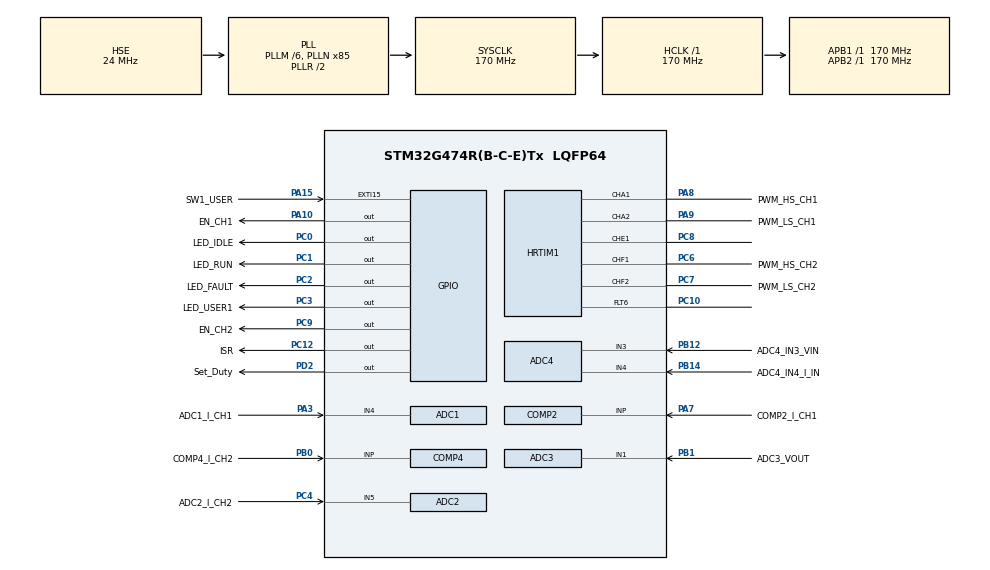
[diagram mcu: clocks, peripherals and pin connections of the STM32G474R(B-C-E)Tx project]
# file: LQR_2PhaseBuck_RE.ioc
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ADC1.ClockPrescaler=ADC_CLOCK_SYNC_PCLK_DIV4
ADC1.EnableInjectedConversion=ENABLE
ADC1.EnableRegularConversion=DISABLE
ADC1.ExternalTrigInjecConv=ADC_EXTERNALTRIGINJEC_HRTIM_TRG2
ADC1.InjNumberOfConversion=1
ADC1.InjectedChannel-7\#ChannelInjectedConversion=ADC_CHANNEL_4
ADC1.InjectedOffset-7\#ChannelInjectedConversion=0
ADC1.InjectedOffsetNumber-7\#ChannelInjectedConversion=ADC_OFFSET_NONE
ADC1.InjectedRank-7\#ChannelInjectedConversion=1
ADC1.InjectedSamplingTime-7\#ChannelInjectedConversion=ADC_SAMPLETIME_6CYCLES_5
ADC1.Mode=ADC_DUALMODE_INJECSIMULT
ADC1.Resolution=ADC_RESOLUTION_12B
ADC1.master=1
ADC2.EnableInjectedConversion=ENABLE
ADC2.EnableRegularConversion=DISABLE
ADC2.InjNumberOfConversion=1
ADC2.InjectedChannel-10\#ChannelInjectedConversion=ADC_CHANNEL_5
ADC2.InjectedOffsetNumber-10\#ChannelInjectedConversion=ADC_OFFSET_NONE
ADC2.InjectedRank-10\#ChannelInjectedConversion=1
ADC2.InjectedSamplingTime-10\#ChannelInjectedConversion=ADC_SAMPLETIME_6CYCLES_5
ADC2.Mode=ADC_DUALMODE_INJECSIMULT
ADC2.Resolution=ADC_RESOLUTION_12B
ADC3.ClockPrescaler=ADC_CLOCK_SYNC_PCLK_DIV4
ADC3.EnableInjectedConversion=ENABLE
ADC3.EnableRegularConversion=DISABLE
ADC3.ExternalTrigInjecConv=ADC_EXTERNALTRIGINJEC_HRTIM_TRG2
ADC3.InjNumberOfConversion=1
ADC3.InjectedChannel-1\#ChannelInjectedConversion=ADC_CHANNEL_1
ADC3.InjectedOffsetNumber-1\#ChannelInjectedConversion=ADC_OFFSET_NONE
ADC3.InjectedRank-1\#ChannelInjectedConversion=1
ADC3.InjectedSamplingTime-1\#ChannelInjectedConversion=ADC_SAMPLETIME_12CYCLES_5
ADC3.master=1
ADC4.Channel-2\#ChannelRegularConversion=ADC_CHANNEL_3
ADC4.Channel-3\#ChannelRegularConversion=ADC_CHANNEL_4
ADC4.ContinuousConvMode=ENABLE
ADC4.DMAContinuousRequests=ENABLE
ADC4.EOCSelection=ADC_EOC_SINGLE_CONV
ADC4.NbrOfConversion=2
ADC4.NbrOfConversionFlag=1
ADC4.OffsetNumber-2\#ChannelRegularConversion=ADC_OFFSET_NONE
ADC4.OffsetNumber-3\#ChannelRegularConversion=ADC_OFFSET_NONE
ADC4.Overrun=ADC_OVR_DATA_OVERWRITTEN
ADC4.OversamplingMode=DISABLE
ADC4.Rank-2\#ChannelRegularConversion=1
ADC4.Rank-3\#ChannelRegularConversion=2
ADC4.SamplingTime-2\#ChannelRegularConversion=ADC_SAMPLETIME_92CYCLES_5
ADC4.SamplingTime-3\#ChannelRegularConversion=ADC_SAMPLETIME_92CYCLES_5
DAC3.DAC_Channel-DAC_OUT2_Int=DAC_CHANNEL_2
Dma.ADC4.0.Direction=DMA_PERIPH_TO_MEMORY
Dma.ADC4.0.EventEnable=DISABLE
Dma.ADC4.0.Instance=DMA1_Channel1
Dma.ADC4.0.MemDataAlignment=DMA_MDATAALIGN_HALFWORD
Dma.ADC4.0.MemInc=DMA_MINC_ENABLE
Dma.ADC4.0.Mode=DMA_CIRCULAR
Dma.ADC4.0.PeriphDataAlignment=DMA_PDATAALIGN_HALFWORD
Dma.ADC4.0.PeriphInc=DMA_PINC_DISABLE
Dma.ADC4.0.Polarity=HAL_DMAMUX_REQ_GEN_RISING
Dma.ADC4.0.Priority=DMA_PRIORITY_LOW
Dma.ADC4.0.RequestNumber=1
Dma.ADC4.0.SignalID=NONE
Dma.ADC4.0.SyncEnable=DISABLE
Dma.ADC4.0.SyncPolarity=HAL_DMAMUX_SYNC_NO_EVENT
Dma.ADC4.0.SyncRequestNumber=1
Dma.ADC4.0.SyncSignalID=NONE
Dma.Request0=ADC4
HRTIM1.ADCTrigger2_Source1=HRTIM_ADCTRIGGEREVENT24_MASTER_PERIOD
HRTIM1.ADCTrigger_Id2=HRTIM_ADCTRIGGER_2
HRTIM1.ADCTrigger_Id3=__NULL
HRTIM1.ADCTrigger_Id4=__NULL
HRTIM1.ADCTrigger_Id5=__NULL
HRTIM1.BlankingSourceFaultLine1=__NULL
HRTIM1.BlankingSourceFaultLine2=__NULL
HRTIM1.BlankingSourceFaultLine6=__NULL
HRTIM1.CompareUnit1-MasterTimer=HRTIM_COMPAREUNIT_1
HRTIM1.CompareUnit1-Output_TA1TA2=HRTIM_COMPAREUNIT_1
HRTIM1.CompareUnit1-Output_TE1=HRTIM_COMPAREUNIT_1
HRTIM1.CompareUnit1-Output_TF1TF2=HRTIM_COMPAREUNIT_1
HRTIM1.CompareUnit3-Output_TA1TA2=__NULL
HRTIM1.CompareValue1-MasterTimer=13600
HRTIM1.CompareValue1-Output_TA1TA2=800
HRTIM1.CompareValue1-Output_TE1=800
HRTIM1.CompareValue1-Output_TF1TF2=800
HRTIM1.DeadTimeInsertion-Output_TA1TA2=HRTIM_TIMDEADTIMEINSERTION_ENABLED
HRTIM1.DeadTimeInsertion-Output_TF1TF2=HRTIM_TIMDEADTIMEINSERTION_ENABLED
HRTIM1.Event_EEV1=__NULL
HRTIM1.Event_EEV10=__NULL
HRTIM1.Event_EEV2=__NULL
HRTIM1.Event_EEV4=__NULL
HRTIM1.Event_EEV5=__NULL
HRTIM1.Event_EEV6=__NULL
HRTIM1.FallingValue-Output_TA1TA2=10
HRTIM1.FallingValue-Output_TF1TF2=10
HRTIM1.FaultEnable_Source1-Output_TA1TA2=HRTIM_TIMFAULTENABLE_FAULT6
HRTIM1.FaultEnable_Source1-Output_TF1TF2=HRTIM_TIMFAULTENABLE_FAULT6
HRTIM1.FaultEnable_Source2-Output_TA1TA2=HRTIM_TIMFAULTENABLE_FAULT1
HRTIM1.FaultEnable_Source2-Output_TF1TF2=HRTIM_TIMFAULTENABLE_FAULT1
HRTIM1.FaultEnable_Source3-Output_TA1TA2=HRTIM_TIMFAULTENABLE_FAULT2
HRTIM1.FaultEnable_Source3-Output_TF1TF2=HRTIM_TIMFAULTENABLE_FAULT2
HRTIM1.FaultLevel1-Output_TA1TA2=HRTIM_OUTPUTFAULTLEVEL_INACTIVE
HRTIM1.FaultLevel1-Output_TF1TF2=HRTIM_OUTPUTFAULTLEVEL_INACTIVE
HRTIM1.FaultLevel2-Output_TA1TA2=HRTIM_OUTPUTFAULTLEVEL_INACTIVE
HRTIM1.FaultLevel2-Output_TF1TF2=HRTIM_OUTPUTFAULTLEVEL_INACTIVE
HRTIM1.FaultLock-Output_TA1TA2=HRTIM_TIMFAULTLOCK_READONLY
HRTIM1.FaultLock-Output_TF1TF2=HRTIM_TIMFAULTLOCK_READONLY
HRTIM1.Fault_Line1=HRTIM_FAULT_1
HRTIM1.Fault_Line2=HRTIM_FAULT_2
HRTIM1.Fault_Line3=__NULL
HRTIM1.Fault_Line4=__NULL
HRTIM1.Fault_Line5=__NULL
HRTIM1.Fault_Line6=HRTIM_FAULT_6
HRTIM1.Filter_FaultLine1=HRTIM_FAULTFILTER_15
HRTIM1.Filter_FaultLine2=HRTIM_FAULTFILTER_15
HRTIM1.Filter_FaultLine6=HRTIM_FAULTFILTER_15
HRTIM1.HRTIMInterruptResquests1=HRTIM_IT_FLT6
HRTIM1.HRTIMInterruptResquests2=HRTIM_IT_FLT1
HRTIM1.HRTIMInterruptResquests3=HRTIM_IT_FLT2
HRTIM1.HRTIMInterruptResquests4=HRTIM_IT_SYSFLT
HRTIM1.NumberADCTriggerSource2=1
HRTIM1.NumberFaultEnable-Output_TA1TA2=3
HRTIM1.NumberFaultEnable-Output_TF1TF2=3
HRTIM1.NumberResetSource1-Output_TA1TA2=1
HRTIM1.NumberResetSource1-Output_TE1=1
HRTIM1.NumberResetSource1-Output_TF1TF2=1
HRTIM1.NumberResetTrigger-Output_TA1TA2=1
HRTIM1.NumberResetTrigger-Output_TE1=1
HRTIM1.NumberResetTrigger-Output_TF1TF2=1
HRTIM1.NumberSetSource1-Output_TE1=1
HRTIM1.NumberUpdateTrigger-Output_TA1TA2=0
HRTIM1.NumberUpdateTrigger-Output_TF1TF2=1
HRTIM1.ORingUpdateSource_ADCTrigger2=HRTIM_ADCTRIGGERUPDATE_MASTER
HRTIM1.Periode_MASTER=27200
HRTIM1.Periode_TA=13600
HRTIM1.Periode_TE=30000
HRTIM1.Periode_TF=13600
HRTIM1.PreloadEnable-Output_TA1TA2=HRTIM_PRELOAD_ENABLED
HRTIM1.PreloadEnable-Output_TF1TF2=HRTIM_PRELOAD_ENABLED
HRTIM1.PrescalerDead-Output_TA1TA2=HRTIM_TIMDEADTIME_PRESCALERRATIO_DIV1
HRTIM1.PrescalerDead-Output_TF1TF2=HRTIM_TIMDEADTIME_PRESCALERRATIO_DIV1
HRTIM1.PrescalerFault=HRTIM_FAULTPRESCALER_DIV8
HRTIM1.ReSyncUpdate-Output_TA1TA2=HRTIM_TIMERESYNC_UPDATE_CONDITIONAL
HRTIM1.ReSyncUpdate-Output_TF1TF2=HRTIM_TIMERESYNC_UPDATE_UNCONDITIONAL
HRTIM1.RepetitionUpdate-Output_TA1TA2=HRTIM_UPDATEONREPETITION_ENABLED
HRTIM1.RepetitionUpdate-Output_TF1TF2=HRTIM_UPDATEONREPETITION_ENABLED
HRTIM1.ResetModeFaultLine1=HRTIM_FAULTCOUNTERRST_UNCONDITIONAL
HRTIM1.ResetModeFaultLine2=HRTIM_FAULTCOUNTERRST_UNCONDITIONAL
HRTIM1.ResetModeFaultLine6=HRTIM_FAULTCOUNTERRST_UNCONDITIONAL
HRTIM1.ResetOutput1_Source1-Output_TA1TA2=HRTIM_OUTPUTRESET_TIMCMP1
HRTIM1.ResetOutput1_Source1-Output_TE1=HRTIM_OUTPUTRESET_TIMCMP1
HRTIM1.ResetOutput1_Source1-Output_TF1TF2=HRTIM_OUTPUTRESET_TIMCMP1
HRTIM1.ResetTrigger1-Output_TA1TA2=HRTIM_TIMRESETTRIGGER_MASTER_PER
HRTIM1.ResetTrigger1-Output_TE1=HRTIM_TIMRESETTRIGGER_MASTER_PER
HRTIM1.ResetTrigger1-Output_TF1TF2=HRTIM_TIMRESETTRIGGER_MASTER_CMP1
HRTIM1.RisingValue-Output_TA1TA2=10
HRTIM1.RisingValue-Output_TF1TF2=10
HRTIM1.SetOutput1_Source1-Output_TE1=HRTIM_OUTPUTSET_MASTERPER
HRTIM1.UpDownMode-Output_TA1TA2=HRTIM_TIMERUPDOWNMODE_UPDOWN
HRTIM1.UpDownMode-Output_TF1TF2=HRTIM_TIMERUPDOWNMODE_UPDOWN
HRTIM1.UpdateTrigger1-Output_TF1TF2=HRTIM_TIMUPDATETRIGGER_TIMER_A
HRTIM1.rom_TA=HRTIM_TIM_ROM_VALLEY
HRTIM1.rom_TF=HRTIM_TIM_ROM_VALLEY
Mcu.Family=STM32G4
Mcu.Name=STM32G474R(B-C-E)Tx
Mcu.Package=LQFP64
NVIC.ADC3_IRQn=true\:0\:0\:false\:false\:true\:true\:true\:true
NVIC.DMA1_Channel1_IRQn=true\:1\:0\:true\:false\:true\:false\:true\:true
NVIC.EXTI15_10_IRQn=true\:1\:0\:true\:false\:true\:true\:true\:true
NVIC.HRTIM1_FLT_IRQn=true\:0\:0\:false\:false\:true\:true\:true\:true
NVIC.PriorityGroup=NVIC_PRIORITYGROUP_4
PA10.GPIO_Label=EN_CH1
PA10.Signal=GPIO_Output
PA13.Mode=Serial_Wire
PA13.Signal=SYS_JTMS-SWDIO
PA14.Mode=Serial_Wire
PA14.Signal=SYS_JTCK-SWCLK
PA15.GPIO_Label=SW1_USER
PA15.GPIO_ModeDefaultEXTI=GPIO_MODE_IT_RISING_FALLING
PA15.Signal=GPXTI15
PA3.GPIO_Label=ADC1_I_CH1
PA3.Mode=IN4-Single-Ended
PA3.Signal=ADC1_IN4
PA5.Signal=COMP_DAC12_group
PA6.Signal=COMP_DAC21_group
PA7.GPIO_Label=COMP2_I_CH1
PA7.Mode=INP
PA7.Signal=COMP2_INP
PA8.GPIO_Label=PWM_HS_CH1
PA8.Mode=Output_TA1TA2
PA8.Signal=HRTIM1_CHA1
PA9.GPIO_Label=PWM_LS_CH1
PA9.Mode=Output_TA1TA2
PA9.Signal=HRTIM1_CHA2
PB0.GPIO_Label=COMP4_I_CH2
PB0.Mode=INP
PB0.Signal=COMP4_INP
PB1.GPIO_Label=ADC3_VOUT
PB1.Mode=IN1-Single-Ended
PB1.Signal=ADC3_IN1
PB12.GPIO_Label=ADC4_IN3_VIN
PB12.Mode=IN3-Single-Ended
PB12.Signal=ADC4_IN3
PB14.GPIO_Label=ADC4_IN4_I_IN
PB14.Mode=IN4-Single-Ended
PB14.Signal=ADC4_IN4
PC0.GPIO_Label=LED_IDLE
PC0.Signal=GPIO_Output
PC1.GPIO_Label=LED_RUN
PC1.Signal=GPIO_Output
PC10.Mode=Fault_Enable6
PC10.Signal=HRTIM1_FLT6
PC12.GPIO_Label=ISR
PC12.Signal=GPIO_Output
PC2.GPIO_Label=LED_FAULT
PC2.Signal=GPIO_Output
PC3.GPIO_Label=LED_USER1
PC3.Signal=GPIO_Output
PC4.GPIO_Label=ADC2_I_CH2
PC4.Mode=IN5-Single-Ended
PC4.Signal=ADC2_IN5
PC6.GPIO_Label=PWM_HS_CH2
PC6.Mode=Output_TF1TF2
PC6.Signal=HRTIM1_CHF1
PC7.GPIO_Label=PWM_LS_CH2
PC7.Mode=Output_TF1TF2
PC7.Signal=HRTIM1_CHF2
PC8.Mode=Output_TE1
PC8.Signal=HRTIM1_CHE1
PC9.GPIO_Label=EN_CH2
PC9.Signal=GPIO_Output
PD2.GPIO_Label=Set_Duty
PD2.Signal=GPIO_Output
PF0-OSC_IN.Mode=HSE-External-Oscillator
PF0-OSC_IN.Signal=RCC_OSC_IN
PF1-OSC_OUT.Mode=HSE-External-Oscillator
PF1-OSC_OUT.Signal=RCC_OSC_OUT
ProjectManager.HeapSize=0x200
ProjectManager.StackSize=0x400
ProjectManager.TargetToolchain=STM32CubeIDE
RCC.ADC12Freq_Value=170000000
RCC.ADC345Freq_Value=170000000
RCC.AHBFreq_Value=170000000
RCC.APB1Freq_Value=170000000
RCC.APB1TimFreq_Value=170000000
RCC.APB2Freq_Value=170000000
RCC.APB2TimFreq_Value=170000000
RCC.CK48CLockSelection=RCC_USBCLKSOURCE_HSI48
RCC.CortexFreq_Value=170000000
RCC.EXTERNAL_CLOCK_VALUE=12288000
RCC.HCLKFreq_Value=170000000
RCC.HSE_VALUE=24000000
RCC.HSI48_VALUE=48000000
RCC.HSI_VALUE=16000000
RCC.LSE_VALUE=32768
RCC.PLLM=RCC_PLLM_DIV6
RCC.PLLN=85
RCC.PLLP=RCC_PLLP_DIV9
RCC.PLLSourceVirtual=RCC_PLLSOURCE_HSE
RCC.SYSCLKFreq_VALUE=170000000
RCC.SYSCLKSource=RCC_SYSCLKSOURCE_PLLCLK
RCC.USBFreq_Value=48000000
RCC.VCOOutputFreq_Value=340000000
SH.COMP_DAC12_group.0=DAC1_OUT2
SH.COMP_DAC21_group.0=DAC2_OUT1
VP_COMP2_VS_DAC3OUT2.Mode=INM_DAC3OUT2
VP_COMP4_VS_DAC3OUT2.Mode=INM_DAC3OUT2
VP_DAC3_VS_DACI2.Mode=DAC_OUT2_Int
VP_HRTIM1_VS_hrtimMasterTimerNoOutput.Mode=MasterTimer
VP_SYS_VS_DBSignals.Mode=DisableDeadBatterySignals
board=custom

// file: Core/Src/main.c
/* USER CODE BEGIN Header */
/**
  ******************************************************************************
  * @file           : main.c
  * @brief          : Main program body
  ******************************************************************************
  * @attention
  *
  * Copyright (c) 2026 STMicroelectronics.
  * All rights reserved.
  *
  * This software is licensed under terms that can be found in the LICENSE file
  * in the root directory of this software component.
  * If no LICENSE file comes with this software, it is provided AS-IS.
  *
  ******************************************************************************
  */
/* USER CODE END Header */
#include "main.h"

/* USER CODE BEGIN Includes */
#include "LQR_PWM_ct.h"
/* USER CODE END Includes */

/* USER CODE BEGIN PTD */

// CCMRAM LOAD Address
extern uint32_t _sccmram;   // Start address of the CCMRAM section.
extern uint32_t _eccmram;   // End address of the CCMRAM section
extern uint32_t _siccmram;  // Address in Flash memory

//extern uint32_t _sccmram_bss;
//extern uint32_t _eccmram_bss;
//extern uint32_t _siccmram_bss;

typedef enum {
    STATE_IDLE	= 0,
    STATE_RUN	= 1,
    STATE_FAULT	= 2,
} System_StateTypeDef;

/* USER CODE END PTD */

/* USER CODE BEGIN PM */

#define VIN_MIN_THRESHOLD 	1911			// ( 4095/(10*3) ) * Vin_min = 136.5 * 14 = 1911

#define IIN_GAIN 			0.00732600732f 	// (1/20 * 3/4095 * 1/0.005) : 1/IC's GAIN * ADC GAIN * 1/R
#define ADC_GAIN_VIN		0.0073260f   	// (3/4095) * 10
/* USER CODE END PM */

ADC_HandleTypeDef hadc1;
ADC_HandleTypeDef hadc2;
ADC_HandleTypeDef hadc3;
ADC_HandleTypeDef hadc4;
DMA_HandleTypeDef hdma_adc4;

COMP_HandleTypeDef hcomp2;
COMP_HandleTypeDef hcomp4;

DAC_HandleTypeDef hdac3;

HRTIM_HandleTypeDef hhrtim1;

/* USER CODE BEGIN PV */

volatile System_StateTypeDef STATE;
volatile float ADC_VIN_raw;
volatile float ADC_IIN_raw;
volatile uint16_t adc4_buffer[2];

volatile float I_In 	= 0.0f;
volatile float V_In 	= 0.0f;
volatile float powerIn 	= 0.0f;
volatile float powerOut = 0.0f;
volatile float eff 		= 0.0f;
uint32_t current_time = 0;
uint32_t last_vin_check_t = 0;

uint32_t last_power_check_t = 0;

uint16_t maxCurrentComp = 2792;    // (1.65 + (0.033x20) / 3)*4095 = 2792 @ 12A Max

/* USER CODE END PV */

void SystemClock_Config(void);
static void MX_GPIO_Init(void);
static void MX_DMA_Init(void);
static void MX_ADC1_Init(void);
static void MX_ADC2_Init(void);
static void MX_ADC3_Init(void);
static void MX_ADC4_Init(void);
static void MX_HRTIM1_Init(void);
static void MX_DAC3_Init(void);
static void MX_COMP4_Init(void);
static void MX_COMP2_Init(void);
/* USER CODE BEGIN PFP */

// Copy data from Flash into CCMRAM
void init_CCMRAM(void) {
    uint32_t *pSource = &_siccmram;
    uint32_t *pDest = &_sccmram;

    // Copy data from FLASH to CCMRAM
    while (pDest < &_eccmram) {
        *pDest++ = *pSource++;
    }

}

void HTRIM_FAULT_HANDLER(void) {
	STATE = STATE_FAULT;

	GPIOA->BSRR = (1U << (10 + 16) ); 	// Disable Phase 1
	GPIOC->BSRR = (1U << (9 + 16) ); 	// Disable Phase 2

	LQR_FaultStop();

	GPIOC->BSRR = (1U << (0 + 16) ); // LED_IDLE set to Low
	GPIOC->BSRR = (1U << (1 + 16) ); // LED_RUN set to Low
	GPIOC->BSRR = (1U << 2); // set to High
}

void HAL_HRTIM_Fault1Callback(HRTIM_HandleTypeDef *hhrtim){ HTRIM_FAULT_HANDLER(); } // CURRENT COMP FAULT
void HAL_HRTIM_Fault2Callback(HRTIM_HandleTypeDef *hhrtim) { HTRIM_FAULT_HANDLER(); }// CURRENT COMP FAULT
void HAL_HRTIM_Fault6Callback(HRTIM_HandleTypeDef *hhrtim) { HTRIM_FAULT_HANDLER(); }// USER FAULT
void HAL_HRTIM_SystemFaultCallback(HRTIM_HandleTypeDef *hhrtim) { HTRIM_FAULT_HANDLER(); }

void efficiency_measure() {
//	ADC_VIN_raw = adc4_buffer[0];
//	ADC_IIN_raw = adc4_buffer[1];

	V_In = ADC_VIN_raw * ADC_GAIN_VIN;
	I_In = ADC_IIN_raw * IIN_GAIN;
	powerIn = V_In * I_In;

	powerOut = LQR_RETURN_POWER();

	eff = powerOut / powerIn;

}

// CHECK INPUT VOLTAGE
uint8_t INPUT_PWR_GOOD() {
	ADC_VIN_raw = adc4_buffer[0];
	ADC_IIN_raw = adc4_buffer[1];

	if (ADC_VIN_raw  >= VIN_MIN_THRESHOLD)
	{
		GPIOC->BSRR = (1U << (3 + 16)); // LED_USER = Low
		return 1;
	}
	else {
		GPIOC->BSRR = (1U << (3)); // LED_USER = High
		return 0;
	}
}

void SYSTEM_ENABLE() {
    if (STATE == STATE_RUN) return;

	if (INPUT_PWR_GOOD() == 0 || STATE == STATE_FAULT) {
		HTRIM_FAULT_HANDLER();
	} else {
		GPIOA->BSRR = (1U << (10 + 0) ); 	// Enable Phase 1
		GPIOC->BSRR = (1U << (9 + 0) ); 	// Enable Phase 2

		GPIOC->BSRR = (1U << (0 + 16) ); 	// LED_IDLE = Low
		GPIOC->BSRR = (1U << 1); 			// LED_RUN = High
		GPIOC->BSRR = (1U << (2 + 16) ); 	// Falut_LED = Low

		STATE = STATE_RUN;
		LQR_Init();
	}
}

void SYSTEM_FORCE_ENABLE() {

//		GPIOA->BSRR = (1U << (10 + 0) ); 	// Enable Phase 1
//		GPIOC->BSRR = (1U << (9 + 0) ); 	// Enable Phase 2

		GPIOC->BSRR = (1U << (0 + 16) ); 	// LED_IDLE = Low
		GPIOC->BSRR = (1U << 1); 			// LED_RUN = High
		GPIOC->BSRR = (1U << (2 + 16) ); 	// Falut_LED = Low

		STATE = STATE_RUN;
		LQR_Init();

}

void SYSTEM_DISABLE() {
	if (STATE == STATE_FAULT) return;

	GPIOA->BSRR = (1U << (10 + 16) ); 	// Disable Phase 1
	GPIOC->BSRR = (1U << (9 + 16) ); 	// Disable Phase 2

	LQR_Stop();
	STATE = STATE_IDLE;

	GPIOC->BSRR = (1U << (1 + 16) ); 	// LED_RUN = Low

	// Soft Fault
	if(INPUT_PWR_GOOD() == 1) {
		GPIOC->BSRR = (1U << 0); 		// LED_IDLE = High
		GPIOC->BSRR = (1U << (2 + 16) );// Falut_LED = Low
	} else {
		GPIOC->BSRR = (1U << (0 + 16)); // LED_IDLE = Low
		GPIOC->BSRR = (1U << (2)); 		// Falut_LED = High
	}

}

// SW EXINT CONTROL
void HAL_GPIO_EXTI_Callback(uint16_t GPIO_Pin) {

	if(GPIO_Pin == SW1_USER_Pin) {
		if(HAL_GPIO_ReadPin(SW1_USER_GPIO_Port, SW1_USER_Pin)) {
			SYSTEM_ENABLE();
		} else {
			SYSTEM_DISABLE();
		}
	}

}

void SYSTEM_PowerOn(void) {

	HAL_NVIC_DisableIRQ(EXTI15_10_IRQn);

	for (uint8_t i=0; i<1; i++) {
		GPIOC->BSRR = (1U << 2);
		HAL_Delay(200);
		GPIOC->BSRR = (1U << (2 + 16));
		HAL_Delay(800);
	}

	__HAL_GPIO_EXTI_CLEAR_IT(SW1_USER_Pin); // Clear flag IR
	HAL_NVIC_EnableIRQ(EXTI15_10_IRQn);

	if (HAL_GPIO_ReadPin(SW1_USER_GPIO_Port, SW1_USER_Pin) == GPIO_PIN_SET) {
		SYSTEM_ENABLE();
	}
	else  {
		SYSTEM_DISABLE();
	}
}

/* USER CODE END PFP */

int main(void)
{

  /* USER CODE BEGIN 1 */
  init_CCMRAM();
  /* USER CODE END 1 */

  /* MCU Configuration--------------------------------------------------------*/

  /* Reset of all peripherals, Initializes the Flash interface and the Systick. */
  HAL_Init();

  /* Configure the system clock */
  SystemClock_Config();

  /* Initialize all configured peripherals */
  MX_GPIO_Init();
  MX_DMA_Init();
  MX_ADC1_Init();
  MX_ADC2_Init();
  MX_ADC3_Init();
  MX_ADC4_Init();
  MX_HRTIM1_Init();
  MX_DAC3_Init();
  MX_COMP4_Init();
  MX_COMP2_Init();
  /* USER CODE BEGIN 2 */

  HAL_ADCEx_Calibration_Start(&hadc1, ADC_SINGLE_ENDED);
  HAL_ADCEx_Calibration_Start(&hadc2, ADC_SINGLE_ENDED);
  HAL_ADCEx_Calibration_Start(&hadc3, ADC_SINGLE_ENDED);
  HAL_ADCEx_Calibration_Start(&hadc4, ADC_SINGLE_ENDED);

//  HAL_ADC_Start(&hadc4);

  // Must call ADC Slave First : ADC2 is slave ADC1 is Master
  HAL_ADCEx_InjectedStart(&hadc2);
  HAL_ADCEx_InjectedStart(&hadc1);
  HAL_ADCEx_InjectedStart_IT(&hadc3);

  HAL_ADC_Start_DMA(&hadc4, (uint32_t*)adc4_buffer, 2);
  // Setting DAC and COMP to compare Phase current // Do not Disable this staff
  HAL_DAC_Start(&hdac3, DAC_CHANNEL_2);
  HAL_DAC_SetValue(&hdac3, DAC_CHANNEL_2, DAC_ALIGN_12B_R, maxCurrentComp);
  HAL_COMP_Start(&hcomp2);
  HAL_COMP_Start(&hcomp4);

  STATE = STATE_IDLE;
  // Start Protocal
  SYSTEM_PowerOn();

//  SYSTEM_FORCE_ENABLE(); for debugging!!!!!

//  HAL_DAC_Start(&hdac1, 1);

  /* USER CODE END 2 */

  /* Infinite loop */
  while (1) {

    /* USER CODE BEGIN 3 */

	 uint32_t current_time = HAL_GetTick();

	 if (current_time - last_vin_check_t >= 100) {
		last_vin_check_t = current_time;

		uint8_t isVIN_OK = INPUT_PWR_GOOD();

		if(STATE == STATE_RUN) {
			if(isVIN_OK == 0) {
				HTRIM_FAULT_HANDLER();
			}
		}
		else if(STATE == STATE_IDLE) {
			if(isVIN_OK == 1) {
				GPIOC->BSRR = (1U << 0); // LED_IDLE set to High
				GPIOC->BSRR = (1U << (2 + 16)); // LED_FAULT set to Low
			} else {
				GPIOC->BSRR = (1U << (0 + 16)); // LED_IDLE set to Low
				GPIOC->BSRR = (1U << 2); // LED_FAULT set to High
			}
		}
	 }

	 if (current_time - last_power_check_t >= 1000) {
		 last_power_check_t = current_time;

		 efficiency_measure();

	 }

  }
  /* USER CODE END 3 */
}

void SystemClock_Config(void)
{
  RCC_OscInitTypeDef RCC_OscInitStruct = {0};
  RCC_ClkInitTypeDef RCC_ClkInitStruct = {0};

  /** Configure the main internal regulator output voltage
  */
  HAL_PWREx_ControlVoltageScaling(PWR_REGULATOR_VOLTAGE_SCALE1_BOOST);

  /** Initializes the RCC Oscillators according to the specified parameters
  * in the RCC_OscInitTypeDef structure.
  */
  RCC_OscInitStruct.OscillatorType = RCC_OSCILLATORTYPE_HSE;
  RCC_OscInitStruct.HSEState = RCC_HSE_ON;
  RCC_OscInitStruct.PLL.PLLState = RCC_PLL_ON;
  RCC_OscInitStruct.PLL.PLLSource = RCC_PLLSOURCE_HSE;
  RCC_OscInitStruct.PLL.PLLM = RCC_PLLM_DIV6;
  RCC_OscInitStruct.PLL.PLLN = 85;
  RCC_OscInitStruct.PLL.PLLP = RCC_PLLP_DIV9;
  RCC_OscInitStruct.PLL.PLLQ = RCC_PLLQ_DIV2;
  RCC_OscInitStruct.PLL.PLLR = RCC_PLLR_DIV2;
  if (HAL_RCC_OscConfig(&RCC_OscInitStruct) != HAL_OK)
  {
    Error_Handler();
  }

  /** Initializes the CPU, AHB and APB buses clocks
  */
  RCC_ClkInitStruct.ClockType = RCC_CLOCKTYPE_HCLK|RCC_CLOCKTYPE_SYSCLK
                              |RCC_CLOCKTYPE_PCLK1|RCC_CLOCKTYPE_PCLK2;
  RCC_ClkInitStruct.SYSCLKSource = RCC_SYSCLKSOURCE_PLLCLK;
  RCC_ClkInitStruct.AHBCLKDivider = RCC_SYSCLK_DIV1;
  RCC_ClkInitStruct.APB1CLKDivider = RCC_HCLK_DIV1;
  RCC_ClkInitStruct.APB2CLKDivider = RCC_HCLK_DIV1;

  if (HAL_RCC_ClockConfig(&RCC_ClkInitStruct, FLASH_LATENCY_4) != HAL_OK)
  {
    Error_Handler();
  }
}

static void MX_ADC1_Init(void)
{

  ADC_MultiModeTypeDef multimode = {0};
  ADC_InjectionConfTypeDef sConfigInjected = {0};

  /** Common config
  */
  hadc1.Instance = ADC1;
  hadc1.Init.ClockPrescaler = ADC_CLOCK_SYNC_PCLK_DIV4;
  hadc1.Init.Resolution = ADC_RESOLUTION_12B;
  hadc1.Init.DataAlign = ADC_DATAALIGN_RIGHT;
  hadc1.Init.GainCompensation = 0;
  hadc1.Init.ScanConvMode = ADC_SCAN_DISABLE;
  hadc1.Init.EOCSelection = ADC_EOC_SINGLE_CONV;
  hadc1.Init.LowPowerAutoWait = DISABLE;
  hadc1.Init.ContinuousConvMode = DISABLE;
  hadc1.Init.NbrOfConversion = 1;
  hadc1.Init.DiscontinuousConvMode = DISABLE;
  hadc1.Init.DMAContinuousRequests = DISABLE;
  hadc1.Init.Overrun = ADC_OVR_DATA_PRESERVED;
  hadc1.Init.OversamplingMode = DISABLE;
  if (HAL_ADC_Init(&hadc1) != HAL_OK)
  {
    Error_Handler();
  }

  /** Configure the ADC multi-mode
  */
  multimode.Mode = ADC_DUALMODE_INJECSIMULT;
  multimode.DMAAccessMode = ADC_DMAACCESSMODE_DISABLED;
  multimode.TwoSamplingDelay = ADC_TWOSAMPLINGDELAY_1CYCLE;
  if (HAL_ADCEx_MultiModeConfigChannel(&hadc1, &multimode) != HAL_OK)
  {
    Error_Handler();
  }

  /** Configure Injected Channel
  */
  sConfigInjected.InjectedChannel = ADC_CHANNEL_4;
  sConfigInjected.InjectedRank = ADC_INJECTED_RANK_1;
  sConfigInjected.InjectedSamplingTime = ADC_SAMPLETIME_6CYCLES_5;
  sConfigInjected.InjectedSingleDiff = ADC_SINGLE_ENDED;
  sConfigInjected.InjectedOffsetNumber = ADC_OFFSET_NONE;
  sConfigInjected.InjectedOffset = 0;
  sConfigInjected.InjectedNbrOfConversion = 1;
  sConfigInjected.InjectedDiscontinuousConvMode = DISABLE;
  sConfigInjected.AutoInjectedConv = DISABLE;
  sConfigInjected.QueueInjectedContext = DISABLE;
  sConfigInjected.ExternalTrigInjecConv = ADC_EXTERNALTRIGINJEC_HRTIM_TRG2;
  sConfigInjected.ExternalTrigInjecConvEdge = ADC_EXTERNALTRIGINJECCONV_EDGE_RISING;
  sConfigInjected.InjecOversamplingMode = DISABLE;
  if (HAL_ADCEx_InjectedConfigChannel(&hadc1, &sConfigInjected) != HAL_OK)
  {
    Error_Handler();
  }

}

static void MX_ADC2_Init(void)
{

  ADC_InjectionConfTypeDef sConfigInjected = {0};

  /** Common config
  */
  hadc2.Instance = ADC2;
  hadc2.Init.ClockPrescaler = ADC_CLOCK_SYNC_PCLK_DIV4;
  hadc2.Init.Resolution = ADC_RESOLUTION_12B;
  hadc2.Init.DataAlign = ADC_DATAALIGN_RIGHT;
  hadc2.Init.GainCompensation = 0;
  hadc2.Init.ScanConvMode = ADC_SCAN_DISABLE;
  hadc2.Init.EOCSelection = ADC_EOC_SINGLE_CONV;
  hadc2.Init.LowPowerAutoWait = DISABLE;
  hadc2.Init.ContinuousConvMode = DISABLE;
  hadc2.Init.NbrOfConversion = 1;
  hadc2.Init.DiscontinuousConvMode = DISABLE;
  hadc2.Init.DMAContinuousRequests = DISABLE;
  hadc2.Init.Overrun = ADC_OVR_DATA_PRESERVED;
  hadc2.Init.OversamplingMode = DISABLE;
  if (HAL_ADC_Init(&hadc2) != HAL_OK)
  {
    Error_Handler();
  }

  /** Configure Injected Channel
  */
  sConfigInjected.InjectedChannel = ADC_CHANNEL_5;
  sConfigInjected.InjectedRank = ADC_INJECTED_RANK_1;
  sConfigInjected.InjectedSamplingTime = ADC_SAMPLETIME_6CYCLES_5;
  sConfigInjected.InjectedSingleDiff = ADC_SINGLE_ENDED;
  sConfigInjected.InjectedOffsetNumber = ADC_OFFSET_NONE;
  sConfigInjected.InjectedOffset = 0;
  sConfigInjected.InjectedNbrOfConversion = 1;
  sConfigInjected.InjectedDiscontinuousConvMode = DISABLE;
  sConfigInjected.AutoInjectedConv = DISABLE;
  sConfigInjected.QueueInjectedContext = DISABLE;
  sConfigInjected.InjecOversamplingMode = DISABLE;
  if (HAL_ADCEx_InjectedConfigChannel(&hadc2, &sConfigInjected) != HAL_OK)
  {
    Error_Handler();
  }

}

static void MX_ADC3_Init(void)
{

  ADC_MultiModeTypeDef multimode = {0};
  ADC_InjectionConfTypeDef sConfigInjected = {0};

  /** Common config
  */
  hadc3.Instance = ADC3;
  hadc3.Init.ClockPrescaler = ADC_CLOCK_SYNC_PCLK_DIV4;
  hadc3.Init.Resolution = ADC_RESOLUTION_12B;
  hadc3.Init.DataAlign = ADC_DATAALIGN_RIGHT;
  hadc3.Init.GainCompensation = 0;
  hadc3.Init.ScanConvMode = ADC_SCAN_DISABLE;
  hadc3.Init.EOCSelection = ADC_EOC_SINGLE_CONV;
  hadc3.Init.LowPowerAutoWait = DISABLE;
  hadc3.Init.ContinuousConvMode = DISABLE;
  hadc3.Init.NbrOfConversion = 1;
  hadc3.Init.DiscontinuousConvMode = DISABLE;
  hadc3.Init.DMAContinuousRequests = DISABLE;
  hadc3.Init.Overrun = ADC_OVR_DATA_PRESERVED;
  hadc3.Init.OversamplingMode = DISABLE;
  if (HAL_ADC_Init(&hadc3) != HAL_OK)
  {
    Error_Handler();
  }

  /** Configure the ADC multi-mode
  */
  multimode.Mode = ADC_MODE_INDEPENDENT;
  if (HAL_ADCEx_MultiModeConfigChannel(&hadc3, &multimode) != HAL_OK)
  {
    Error_Handler();
  }

  /** Configure Injected Channel
  */
  sConfigInjected.InjectedChannel = ADC_CHANNEL_1;
  sConfigInjected.InjectedRank = ADC_INJECTED_RANK_1;
  sConfigInjected.InjectedSamplingTime = ADC_SAMPLETIME_12CYCLES_5;
  sConfigInjected.InjectedSingleDiff = ADC_SINGLE_ENDED;
  sConfigInjected.InjectedOffsetNumber = ADC_OFFSET_NONE;
  sConfigInjected.InjectedOffset = 0;
  sConfigInjected.InjectedNbrOfConversion = 1;
  sConfigInjected.InjectedDiscontinuousConvMode = DISABLE;
  sConfigInjected.AutoInjectedConv = DISABLE;
  sConfigInjected.QueueInjectedContext = DISABLE;
  sConfigInjected.ExternalTrigInjecConv = ADC_EXTERNALTRIGINJEC_HRTIM_TRG2;
  sConfigInjected.ExternalTrigInjecConvEdge = ADC_EXTERNALTRIGINJECCONV_EDGE_RISING;
  sConfigInjected.InjecOversamplingMode = DISABLE;
  if (HAL_ADCEx_InjectedConfigChannel(&hadc3, &sConfigInjected) != HAL_OK)
  {
    Error_Handler();
  }

}

static void MX_ADC4_Init(void)
{

  ADC_ChannelConfTypeDef sConfig = {0};

  /** Common config
  */
  hadc4.Instance = ADC4;
  hadc4.Init.ClockPrescaler = ADC_CLOCK_SYNC_PCLK_DIV4;
  hadc4.Init.Resolution = ADC_RESOLUTION_12B;
  hadc4.Init.DataAlign = ADC_DATAALIGN_RIGHT;
  hadc4.Init.GainCompensation = 0;
  hadc4.Init.ScanConvMode = ADC_SCAN_ENABLE;
  hadc4.Init.EOCSelection = ADC_EOC_SINGLE_CONV;
  hadc4.Init.LowPowerAutoWait = DISABLE;
  hadc4.Init.ContinuousConvMode = ENABLE;
  hadc4.Init.NbrOfConversion = 2;
  hadc4.Init.DiscontinuousConvMode = DISABLE;
  hadc4.Init.ExternalTrigConv = ADC_SOFTWARE_START;
  hadc4.Init.ExternalTrigConvEdge = ADC_EXTERNALTRIGCONVEDGE_NONE;
  hadc4.Init.DMAContinuousRequests = ENABLE;
  hadc4.Init.Overrun = ADC_OVR_DATA_OVERWRITTEN;
  hadc4.Init.OversamplingMode = DISABLE;
  if (HAL_ADC_Init(&hadc4) != HAL_OK)
  {
    Error_Handler();
  }

  /** Configure Regular Channel
  */
  sConfig.Channel = ADC_CHANNEL_3;
  sConfig.Rank = ADC_REGULAR_RANK_1;
  sConfig.SamplingTime = ADC_SAMPLETIME_92CYCLES_5;
  sConfig.SingleDiff = ADC_SINGLE_ENDED;
  sConfig.OffsetNumber = ADC_OFFSET_NONE;
  sConfig.Offset = 0;
  if (HAL_ADC_ConfigChannel(&hadc4, &sConfig) != HAL_OK)
  {
    Error_Handler();
  }

  /** Configure Regular Channel
  */
  sConfig.Channel = ADC_CHANNEL_4;
  sConfig.Rank = ADC_REGULAR_RANK_2;
  if (HAL_ADC_ConfigChannel(&hadc4, &sConfig) != HAL_OK)
  {
    Error_Handler();
  }

}

static void MX_COMP2_Init(void)
{

  hcomp2.Instance = COMP2;
  hcomp2.Init.InputPlus = COMP_INPUT_PLUS_IO1;
  hcomp2.Init.InputMinus = COMP_INPUT_MINUS_DAC3_CH2;
  hcomp2.Init.OutputPol = COMP_OUTPUTPOL_NONINVERTED;
  hcomp2.Init.Hysteresis = COMP_HYSTERESIS_NONE;
  hcomp2.Init.BlankingSrce = COMP_BLANKINGSRC_NONE;
  hcomp2.Init.TriggerMode = COMP_TRIGGERMODE_NONE;
  if (HAL_COMP_Init(&hcomp2) != HAL_OK)
  {
    Error_Handler();
  }

}

static void MX_COMP4_Init(void)
{

  hcomp4.Instance = COMP4;
  hcomp4.Init.InputPlus = COMP_INPUT_PLUS_IO1;
  hcomp4.Init.InputMinus = COMP_INPUT_MINUS_DAC3_CH2;
  hcomp4.Init.OutputPol = COMP_OUTPUTPOL_NONINVERTED;
  hcomp4.Init.Hysteresis = COMP_HYSTERESIS_NONE;
  hcomp4.Init.BlankingSrce = COMP_BLANKINGSRC_NONE;
  hcomp4.Init.TriggerMode = COMP_TRIGGERMODE_NONE;
  if (HAL_COMP_Init(&hcomp4) != HAL_OK)
  {
    Error_Handler();
  }

}

static void MX_DAC3_Init(void)
{

  DAC_ChannelConfTypeDef sConfig = {0};

  /** DAC Initialization
  */
  hdac3.Instance = DAC3;
  if (HAL_DAC_Init(&hdac3) != HAL_OK)
  {
    Error_Handler();
  }

  /** DAC channel OUT2 config
  */
  sConfig.DAC_HighFrequency = DAC_HIGH_FREQUENCY_INTERFACE_MODE_AUTOMATIC;
  sConfig.DAC_DMADoubleDataMode = DISABLE;
  sConfig.DAC_SignedFormat = DISABLE;
  sConfig.DAC_SampleAndHold = DAC_SAMPLEANDHOLD_DISABLE;
  sConfig.DAC_Trigger = DAC_TRIGGER_NONE;
  sConfig.DAC_Trigger2 = DAC_TRIGGER_NONE;
  sConfig.DAC_OutputBuffer = DAC_OUTPUTBUFFER_DISABLE;
  sConfig.DAC_ConnectOnChipPeripheral = DAC_CHIPCONNECT_INTERNAL;
  sConfig.DAC_UserTrimming = DAC_TRIMMING_FACTORY;
  if (HAL_DAC_ConfigChannel(&hdac3, &sConfig, DAC_CHANNEL_2) != HAL_OK)
  {
    Error_Handler();
  }

}

static void MX_HRTIM1_Init(void)
{

  HRTIM_FaultCfgTypeDef pFaultCfg = {0};
  HRTIM_FaultBlankingCfgTypeDef pFaultBlkCfg = {0};
  HRTIM_ADCTriggerCfgTypeDef pADCTriggerCfg = {0};
  HRTIM_TimeBaseCfgTypeDef pTimeBaseCfg = {0};
  HRTIM_TimerCfgTypeDef pTimerCfg = {0};
  HRTIM_CompareCfgTypeDef pCompareCfg = {0};
  HRTIM_TimerCtlTypeDef pTimerCtl = {0};
  HRTIM_DeadTimeCfgTypeDef pDeadTimeCfg = {0};
  HRTIM_OutputCfgTypeDef pOutputCfg = {0};

  hhrtim1.Instance = HRTIM1;
  hhrtim1.Init.HRTIMInterruptResquests = HRTIM_IT_FLT6|HRTIM_IT_FLT1
                              |HRTIM_IT_FLT2|HRTIM_IT_SYSFLT;
  hhrtim1.Init.SyncOptions = HRTIM_SYNCOPTION_NONE;
  if (HAL_HRTIM_Init(&hhrtim1) != HAL_OK)
  {
    Error_Handler();
  }
  if (HAL_HRTIM_DLLCalibrationStart(&hhrtim1, HRTIM_CALIBRATIONRATE_3) != HAL_OK)
  {
    Error_Handler();
  }
  if (HAL_HRTIM_PollForDLLCalibration(&hhrtim1, 10) != HAL_OK)
  {
    Error_Handler();
  }
  if (HAL_HRTIM_FaultPrescalerConfig(&hhrtim1, HRTIM_FAULTPRESCALER_DIV8) != HAL_OK)
  {
    Error_Handler();
  }
  pFaultCfg.Source = HRTIM_FAULTSOURCE_INTERNAL;
  pFaultCfg.Polarity = HRTIM_FAULTPOLARITY_HIGH;
  pFaultCfg.Filter = HRTIM_FAULTFILTER_15;
  pFaultCfg.Lock = HRTIM_FAULTLOCK_READWRITE;
  if (HAL_HRTIM_FaultConfig(&hhrtim1, HRTIM_FAULT_1, &pFaultCfg) != HAL_OK)
  {
    Error_Handler();
  }
  pFaultBlkCfg.Threshold = 0;
  pFaultBlkCfg.ResetMode = HRTIM_FAULTCOUNTERRST_UNCONDITIONAL;
  if (HAL_HRTIM_FaultCounterConfig(&hhrtim1, HRTIM_FAULT_1, &pFaultBlkCfg) != HAL_OK)
  {
    Error_Handler();
  }
  HAL_HRTIM_FaultModeCtl(&hhrtim1, HRTIM_FAULT_1, HRTIM_FAULTMODECTL_ENABLED);
  if (HAL_HRTIM_FaultCounterConfig(&hhrtim1, HRTIM_FAULT_2, &pFaultBlkCfg) != HAL_OK)
  {
    Error_Handler();
  }
  if (HAL_HRTIM_FaultConfig(&hhrtim1, HRTIM_FAULT_2, &pFaultCfg) != HAL_OK)
  {
    Error_Handler();
  }
  HAL_HRTIM_FaultModeCtl(&hhrtim1, HRTIM_FAULT_2, HRTIM_FAULTMODECTL_ENABLED);
  if (HAL_HRTIM_FaultCounterConfig(&hhrtim1, HRTIM_FAULT_6, &pFaultBlkCfg) != HAL_OK)
  {
    Error_Handler();
  }
  pFaultCfg.Source = HRTIM_FAULTSOURCE_DIGITALINPUT;
  if (HAL_HRTIM_FaultConfig(&hhrtim1, HRTIM_FAULT_6, &pFaultCfg) != HAL_OK)
  {
    Error_Handler();
  }
  HAL_HRTIM_FaultModeCtl(&hhrtim1, HRTIM_FAULT_6, HRTIM_FAULTMODECTL_ENABLED);
  pADCTriggerCfg.UpdateSource = HRTIM_ADCTRIGGERUPDATE_MASTER;
  pADCTriggerCfg.Trigger = HRTIM_ADCTRIGGEREVENT24_MASTER_PERIOD;
  if (HAL_HRTIM_ADCTriggerConfig(&hhrtim1, HRTIM_ADCTRIGGER_2, &pADCTriggerCfg) != HAL_OK)
  {
    Error_Handler();
  }
  if (HAL_HRTIM_ADCPostScalerConfig(&hhrtim1, HRTIM_ADCTRIGGER_2, 0x0) != HAL_OK)
  {
    Error_Handler();
  }
  pTimeBaseCfg.Period = 27200;
  pTimeBaseCfg.RepetitionCounter = 0x00;
  pTimeBaseCfg.PrescalerRatio = HRTIM_PRESCALERRATIO_MUL32;
  pTimeBaseCfg.Mode = HRTIM_MODE_CONTINUOUS;
  if (HAL_HRTIM_TimeBaseConfig(&hhrtim1, HRTIM_TIMERINDEX_MASTER, &pTimeBaseCfg) != HAL_OK)
  {
    Error_Handler();
  }
  pTimerCfg.InterruptRequests = HRTIM_MASTER_IT_NONE;
  pTimerCfg.DMARequests = HRTIM_MASTER_DMA_NONE;
  pTimerCfg.DMASrcAddress = 0x0000;
  pTimerCfg.DMADstAddress = 0x0000;
  pTimerCfg.DMASize = 0x1;
  pTimerCfg.HalfModeEnable = HRTIM_HALFMODE_DISABLED;
  pTimerCfg.InterleavedMode = HRTIM_INTERLEAVED_MODE_DISABLED;
  pTimerCfg.StartOnSync = HRTIM_SYNCSTART_DISABLED;
  pTimerCfg.ResetOnSync = HRTIM_SYNCRESET_DISABLED;
  pTimerCfg.DACSynchro = HRTIM_DACSYNC_NONE;
  pTimerCfg.PreloadEnable = HRTIM_PRELOAD_DISABLED;
  pTimerCfg.UpdateGating = HRTIM_UPDATEGATING_INDEPENDENT;
  pTimerCfg.BurstMode = HRTIM_TIMERBURSTMODE_MAINTAINCLOCK;
  pTimerCfg.RepetitionUpdate = HRTIM_UPDATEONREPETITION_DISABLED;
  pTimerCfg.ReSyncUpdate = HRTIM_TIMERESYNC_UPDATE_UNCONDITIONAL;
  if (HAL_HRTIM_WaveformTimerConfig(&hhrtim1, HRTIM_TIMERINDEX_MASTER, &pTimerCfg) != HAL_OK)
  {
    Error_Handler();
  }
  pCompareCfg.CompareValue = 13600;
  if (HAL_HRTIM_WaveformCompareConfig(&hhrtim1, HRTIM_TIMERINDEX_MASTER, HRTIM_COMPAREUNIT_1, &pCompareCfg) != HAL_OK)
  {
    Error_Handler();
  }
  pTimeBaseCfg.Period = 13600;
  if (HAL_HRTIM_TimeBaseConfig(&hhrtim1, HRTIM_TIMERINDEX_TIMER_A, &pTimeBaseCfg) != HAL_OK)
  {
    Error_Handler();
  }
  pTimerCtl.UpDownMode = HRTIM_TIMERUPDOWNMODE_UPDOWN;
  pTimerCtl.GreaterCMP1 = HRTIM_TIMERGTCMP1_EQUAL;
  pTimerCtl.DualChannelDacEnable = HRTIM_TIMER_DCDE_DISABLED;
  if (HAL_HRTIM_WaveformTimerControl(&hhrtim1, HRTIM_TIMERINDEX_TIMER_A, &pTimerCtl) != HAL_OK)
  {
    Error_Handler();
  }
  if (HAL_HRTIM_RollOverModeConfig(&hhrtim1, HRTIM_TIMERINDEX_TIMER_A, HRTIM_TIM_FEROM_BOTH|HRTIM_TIM_BMROM_BOTH
                              |HRTIM_TIM_ADROM_BOTH|HRTIM_TIM_OUTROM_BOTH
                              |HRTIM_TIM_ROM_VALLEY) != HAL_OK)
  {
    Error_Handler();
  }
  pTimerCfg.InterruptRequests = HRTIM_TIM_IT_NONE;
  pTimerCfg.DMARequests = HRTIM_TIM_DMA_NONE;
  pTimerCfg.PreloadEnable = HRTIM_PRELOAD_ENABLED;
  pTimerCfg.RepetitionUpdate = HRTIM_UPDATEONREPETITION_ENABLED;
  pTimerCfg.PushPull = HRTIM_TIMPUSHPULLMODE_DISABLED;
  pTimerCfg.FaultEnable = HRTIM_TIMFAULTENABLE_FAULT6|HRTIM_TIMFAULTENABLE_FAULT1
                              |HRTIM_TIMFAULTENABLE_FAULT2;
  pTimerCfg.FaultLock = HRTIM_TIMFAULTLOCK_READONLY;
  pTimerCfg.DeadTimeInsertion = HRTIM_TIMDEADTIMEINSERTION_ENABLED;
  pTimerCfg.DelayedProtectionMode = HRTIM_TIMER_A_B_C_DELAYEDPROTECTION_DISABLED;
  pTimerCfg.UpdateTrigger = HRTIM_TIMUPDATETRIGGER_NONE;
  pTimerCfg.ResetTrigger = HRTIM_TIMRESETTRIGGER_MASTER_PER;
  pTimerCfg.ResetUpdate = HRTIM_TIMUPDATEONRESET_DISABLED;
  pTimerCfg.ReSyncUpdate = HRTIM_TIMERESYNC_UPDATE_CONDITIONAL;
  if (HAL_HRTIM_WaveformTimerConfig(&hhrtim1, HRTIM_TIMERINDEX_TIMER_A, &pTimerCfg) != HAL_OK)
  {
    Error_Handler();
  }
  pTimerCfg.PreloadEnable = HRTIM_PRELOAD_DISABLED;
  pTimerCfg.RepetitionUpdate = HRTIM_UPDATEONREPETITION_DISABLED;
  pTimerCfg.FaultEnable = HRTIM_TIMFAULTENABLE_NONE;
  pTimerCfg.FaultLock = HRTIM_TIMFAULTLOCK_READWRITE;
  pTimerCfg.DeadTimeInsertion = HRTIM_TIMDEADTIMEINSERTION_DISABLED;
  pTimerCfg.DelayedProtectionMode = HRTIM_TIMER_D_E_DELAYEDPROTECTION_DISABLED;
  pTimerCfg.ReSyncUpdate = HRTIM_TIMERESYNC_UPDATE_UNCONDITIONAL;
  if (HAL_HRTIM_WaveformTimerConfig(&hhrtim1, HRTIM_TIMERINDEX_TIMER_E, &pTimerCfg) != HAL_OK)
  {
    Error_Handler();
  }
  pTimerCfg.PreloadEnable = HRTIM_PRELOAD_ENABLED;
  pTimerCfg.RepetitionUpdate = HRTIM_UPDATEONREPETITION_ENABLED;
  pTimerCfg.FaultEnable = HRTIM_TIMFAULTENABLE_FAULT6|HRTIM_TIMFAULTENABLE_FAULT1
                              |HRTIM_TIMFAULTENABLE_FAULT2;
  pTimerCfg.FaultLock = HRTIM_TIMFAULTLOCK_READONLY;
  pTimerCfg.DeadTimeInsertion = HRTIM_TIMDEADTIMEINSERTION_ENABLED;
  pTimerCfg.DelayedProtectionMode = HRTIM_TIMER_F_DELAYEDPROTECTION_DISABLED;
  pTimerCfg.UpdateTrigger = HRTIM_TIMUPDATETRIGGER_TIMER_A;
  pTimerCfg.ResetTrigger = HRTIM_TIMRESETTRIGGER_MASTER_CMP1;
  if (HAL_HRTIM_WaveformTimerConfig(&hhrtim1, HRTIM_TIMERINDEX_TIMER_F, &pTimerCfg) != HAL_OK)
  {
    Error_Handler();
  }
  pCompareCfg.CompareValue = 800;
  if (HAL_HRTIM_WaveformCompareConfig(&hhrtim1, HRTIM_TIMERINDEX_TIMER_A, HRTIM_COMPAREUNIT_1, &pCompareCfg) != HAL_OK)
  {
    Error_Handler();
  }
  pDeadTimeCfg.Prescaler = HRTIM_TIMDEADTIME_PRESCALERRATIO_DIV1;
  pDeadTimeCfg.RisingValue = 10;
  pDeadTimeCfg.RisingSign = HRTIM_TIMDEADTIME_RISINGSIGN_POSITIVE;
  pDeadTimeCfg.RisingLock = HRTIM_TIMDEADTIME_RISINGLOCK_WRITE;
  pDeadTimeCfg.RisingSignLock = HRTIM_TIMDEADTIME_RISINGSIGNLOCK_WRITE;
  pDeadTimeCfg.FallingValue = 10;
  pDeadTimeCfg.FallingSign = HRTIM_TIMDEADTIME_FALLINGSIGN_POSITIVE;
  pDeadTimeCfg.FallingLock = HRTIM_TIMDEADTIME_FALLINGLOCK_WRITE;
  pDeadTimeCfg.FallingSignLock = HRTIM_TIMDEADTIME_FALLINGSIGNLOCK_WRITE;
  if (HAL_HRTIM_DeadTimeConfig(&hhrtim1, HRTIM_TIMERINDEX_TIMER_A, &pDeadTimeCfg) != HAL_OK)
  {
    Error_Handler();
  }
  if (HAL_HRTIM_DeadTimeConfig(&hhrtim1, HRTIM_TIMERINDEX_TIMER_F, &pDeadTimeCfg) != HAL_OK)
  {
    Error_Handler();
  }
  pOutputCfg.Polarity = HRTIM_OUTPUTPOLARITY_HIGH;
  pOutputCfg.SetSource = HRTIM_OUTPUTSET_NONE;
  pOutputCfg.ResetSource = HRTIM_OUTPUTRESET_TIMCMP1;
  pOutputCfg.IdleMode = HRTIM_OUTPUTIDLEMODE_NONE;
  pOutputCfg.IdleLevel = HRTIM_OUTPUTIDLELEVEL_INACTIVE;
  pOutputCfg.FaultLevel = HRTIM_OUTPUTFAULTLEVEL_INACTIVE;
  pOutputCfg.ChopperModeEnable = HRTIM_OUTPUTCHOPPERMODE_DISABLED;
  pOutputCfg.BurstModeEntryDelayed = HRTIM_OUTPUTBURSTMODEENTRY_REGULAR;
  if (HAL_HRTIM_WaveformOutputConfig(&hhrtim1, HRTIM_TIMERINDEX_TIMER_A, HRTIM_OUTPUT_TA1, &pOutputCfg) != HAL_OK)
  {
    Error_Handler();
  }
  pOutputCfg.SetSource = HRTIM_OUTPUTSET_MASTERPER;
  pOutputCfg.FaultLevel = HRTIM_OUTPUTFAULTLEVEL_NONE;
  if (HAL_HRTIM_WaveformOutputConfig(&hhrtim1, HRTIM_TIMERINDEX_TIMER_E, HRTIM_OUTPUT_TE1, &pOutputCfg) != HAL_OK)
  {
    Error_Handler();
  }
  pOutputCfg.SetSource = HRTIM_OUTPUTSET_NONE;
  pOutputCfg.FaultLevel = HRTIM_OUTPUTFAULTLEVEL_INACTIVE;
  if (HAL_HRTIM_WaveformOutputConfig(&hhrtim1, HRTIM_TIMERINDEX_TIMER_F, HRTIM_OUTPUT_TF1, &pOutputCfg) != HAL_OK)
  {
    Error_Handler();
  }
  pOutputCfg.ResetSource = HRTIM_OUTPUTRESET_NONE;
  if (HAL_HRTIM_WaveformOutputConfig(&hhrtim1, HRTIM_TIMERINDEX_TIMER_A, HRTIM_OUTPUT_TA2, &pOutputCfg) != HAL_OK)
  {
    Error_Handler();
  }
  if (HAL_HRTIM_WaveformOutputConfig(&hhrtim1, HRTIM_TIMERINDEX_TIMER_F, HRTIM_OUTPUT_TF2, &pOutputCfg) != HAL_OK)
  {
    Error_Handler();
  }
  pTimeBaseCfg.Period = 30000;
  if (HAL_HRTIM_TimeBaseConfig(&hhrtim1, HRTIM_TIMERINDEX_TIMER_E, &pTimeBaseCfg) != HAL_OK)
  {
    Error_Handler();
  }
  pTimerCtl.UpDownMode = HRTIM_TIMERUPDOWNMODE_UP;
  if (HAL_HRTIM_WaveformTimerControl(&hhrtim1, HRTIM_TIMERINDEX_TIMER_E, &pTimerCtl) != HAL_OK)
  {
    Error_Handler();
  }
  if (HAL_HRTIM_WaveformCompareConfig(&hhrtim1, HRTIM_TIMERINDEX_TIMER_E, HRTIM_COMPAREUNIT_1, &pCompareCfg) != HAL_OK)
  {
    Error_Handler();
  }
  pTimeBaseCfg.Period = 13600;
  if (HAL_HRTIM_TimeBaseConfig(&hhrtim1, HRTIM_TIMERINDEX_TIMER_F, &pTimeBaseCfg) != HAL_OK)
  {
    Error_Handler();
  }
  pTimerCtl.UpDownMode = HRTIM_TIMERUPDOWNMODE_UPDOWN;
  if (HAL_HRTIM_WaveformTimerControl(&hhrtim1, HRTIM_TIMERINDEX_TIMER_F, &pTimerCtl) != HAL_OK)
  {
    Error_Handler();
  }
  if (HAL_HRTIM_RollOverModeConfig(&hhrtim1, HRTIM_TIMERINDEX_TIMER_F, HRTIM_TIM_FEROM_BOTH|HRTIM_TIM_BMROM_BOTH
                              |HRTIM_TIM_ADROM_BOTH|HRTIM_TIM_OUTROM_BOTH
                              |HRTIM_TIM_ROM_VALLEY) != HAL_OK)
  {
    Error_Handler();
  }
  if (HAL_HRTIM_WaveformCompareConfig(&hhrtim1, HRTIM_TIMERINDEX_TIMER_F, HRTIM_COMPAREUNIT_1, &pCompareCfg) != HAL_OK)
  {
    Error_Handler();
  }
  HAL_HRTIM_MspPostInit(&hhrtim1);

}

static void MX_DMA_Init(void)
{

  /* DMA controller clock enable */
  __HAL_RCC_DMAMUX1_CLK_ENABLE();
  __HAL_RCC_DMA1_CLK_ENABLE();

  /* DMA interrupt init */
  /* DMA1_Channel1_IRQn interrupt configuration */
  HAL_NVIC_SetPriority(DMA1_Channel1_IRQn, 1, 0);
  HAL_NVIC_EnableIRQ(DMA1_Channel1_IRQn);

}

static void MX_GPIO_Init(void)
{
  GPIO_InitTypeDef GPIO_InitStruct = {0};

  /* GPIO Ports Clock Enable */
  __HAL_RCC_GPIOF_CLK_ENABLE();
  __HAL_RCC_GPIOC_CLK_ENABLE();
  __HAL_RCC_GPIOA_CLK_ENABLE();
  __HAL_RCC_GPIOB_CLK_ENABLE();
  __HAL_RCC_GPIOD_CLK_ENABLE();

  /*Configure GPIO pin Output Level */
  HAL_GPIO_WritePin(GPIOC, LED_IDLE_Pin|LED_RUN_Pin|LED_FAULT_Pin|LED_USER1_Pin
                          |EN_CH2_Pin|ISR_Pin, GPIO_PIN_RESET);

  /*Configure GPIO pin Output Level */
  HAL_GPIO_WritePin(EN_CH1_GPIO_Port, EN_CH1_Pin, GPIO_PIN_RESET);

  /*Configure GPIO pin Output Level */
  HAL_GPIO_WritePin(Set_Duty_GPIO_Port, Set_Duty_Pin, GPIO_PIN_RESET);

  /*Configure GPIO pins : LED_IDLE_Pin LED_RUN_Pin LED_FAULT_Pin LED_USER1_Pin
                           EN_CH2_Pin ISR_Pin */
  GPIO_InitStruct.Pin = LED_IDLE_Pin|LED_RUN_Pin|LED_FAULT_Pin|LED_USER1_Pin
                          |EN_CH2_Pin|ISR_Pin;
  GPIO_InitStruct.Mode = GPIO_MODE_OUTPUT_PP;
  GPIO_InitStruct.Pull = GPIO_NOPULL;
  GPIO_InitStruct.Speed = GPIO_SPEED_FREQ_LOW;
  HAL_GPIO_Init(GPIOC, &GPIO_InitStruct);

  /*Configure GPIO pins : PA5 PA6 */
  GPIO_InitStruct.Pin = GPIO_PIN_5|GPIO_PIN_6;
  GPIO_InitStruct.Mode = GPIO_MODE_ANALOG;
  GPIO_InitStruct.Pull = GPIO_NOPULL;
  HAL_GPIO_Init(GPIOA, &GPIO_InitStruct);

  /*Configure GPIO pin : EN_CH1_Pin */
  GPIO_InitStruct.Pin = EN_CH1_Pin;
  GPIO_InitStruct.Mode = GPIO_MODE_OUTPUT_PP;
  GPIO_InitStruct.Pull = GPIO_NOPULL;
  GPIO_InitStruct.Speed = GPIO_SPEED_FREQ_LOW;
  HAL_GPIO_Init(EN_CH1_GPIO_Port, &GPIO_InitStruct);

  /*Configure GPIO pin : SW1_USER_Pin */
  GPIO_InitStruct.Pin = SW1_USER_Pin;
  GPIO_InitStruct.Mode = GPIO_MODE_IT_RISING_FALLING;
  GPIO_InitStruct.Pull = GPIO_NOPULL;
  HAL_GPIO_Init(SW1_USER_GPIO_Port, &GPIO_InitStruct);

  /*Configure GPIO pin : Set_Duty_Pin */
  GPIO_InitStruct.Pin = Set_Duty_Pin;
  GPIO_InitStruct.Mode = GPIO_MODE_OUTPUT_PP;
  GPIO_InitStruct.Pull = GPIO_NOPULL;
  GPIO_InitStruct.Speed = GPIO_SPEED_FREQ_LOW;
  HAL_GPIO_Init(Set_Duty_GPIO_Port, &GPIO_InitStruct);

  /* EXTI interrupt init*/
  HAL_NVIC_SetPriority(EXTI15_10_IRQn, 1, 0);
  HAL_NVIC_EnableIRQ(EXTI15_10_IRQn);

}

void Error_Handler(void)
{
  /* USER CODE BEGIN Error_Handler_Debug */
  /* User can add his own implementation to report the HAL error return state */
  __disable_irq();
	GPIOC->BSRR = (1U << (0 + 16) ); // LED_IDLE set to Low
	GPIOC->BSRR = (1U << (1 + 16) ); // LED_RUN set to Low
	GPIOC->BSRR = (1U << (3 + 16) ); // LED_USER set to Low
  while (1)
  {
	GPIOC->BSRR = (1U << 2); // Falut LED Enable
	HAL_Delay(800);
	GPIOC->BSRR = (1U << 18); // Falut LED Enable
	HAL_Delay(100);
  }
  /* USER CODE END Error_Handler_Debug */
}
